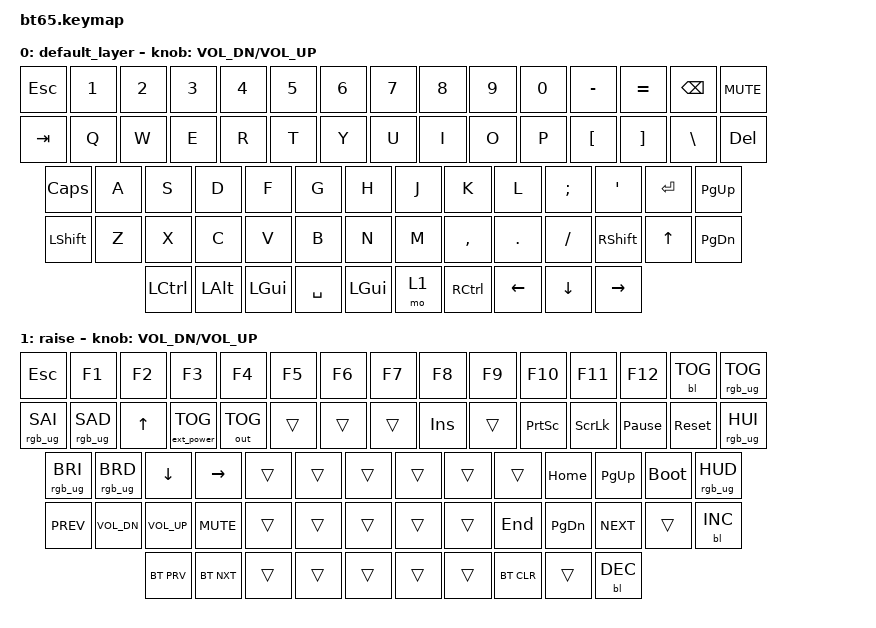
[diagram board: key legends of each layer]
#include <behaviors.dtsi>
#include <dt-bindings/zmk/backlight.h>
#include <dt-bindings/zmk/bt.h>
#include <dt-bindings/zmk/ext_power.h>
#include <dt-bindings/zmk/keys.h>
#include <dt-bindings/zmk/rgb.h>
#include <dt-bindings/zmk/outputs.h>

/ {
    keymap {
        compatible = "zmk,keymap";

        default_layer {
            // ------------------------------------------------------------------------------------------------------------
            // |  `  |  1  |  2  |  3  |  4  |  5  |  6  |  7  |  8  |  9  |  0  |  -  |  =  |BKSP | INS		|
            // | TAB  |  Q  |  W  |  E  |  R  |  T  |  Y  |  U  |  I  |  O  |  P  |  [  |  ]  |   \    | DEL		|
            // | CAPS  |  A  |  S  |  D  |  F  |  G  |  H  |  J  |  K  |  L  |  ;  |  '  |     ENTER    |PGUP	|
            // |  SHIFT  |  Z  |  X  |  C  |  V  |  B  |  N  |  M  |  ,  |  .  | /   |   SHIFT  | UP   | PGDN|
            // |  CTL  |  WIN  |  ALT  |            SPACE               | ALT | 1    |  MENU| LEFT |  DOWN    | RIGHT	|
            // ------------------------------------------------------------------------------------------------------------

            bindings = <
  &kp ESC    &kp N1  &kp N2    &kp N3  &kp N4  &kp N5     &kp N6  &kp N7  &kp N8     &kp N9    &kp N0  &kp MINUS  &kp EQUAL            &kp BKSP               &kp C_MUTE
  &kp TAB     &kp Q   &kp W     &kp E   &kp R   &kp T      &kp Y   &kp U   &kp I      &kp O     &kp P   &kp LBKT   &kp RBKT            &kp BSLH      &kp DEL
 &kp CLCK     &kp A   &kp S     &kp D   &kp F   &kp G      &kp H   &kp J   &kp K      &kp L  &kp SEMI    &kp SQT                        &kp RET    &kp PG_UP
&kp LSHFT             &kp Z     &kp X   &kp C   &kp V      &kp B   &kp N   &kp M  &kp COMMA   &kp DOT   &kp FSLH  &kp RSHFT              &kp UP    &kp PG_DN
&kp LCTRL  &kp LALT          &kp LGUI                  &kp SPACE                             &kp LGUI      &mo 1  &kp RCTRL  &kp LEFT  &kp DOWN    &kp RIGHT
            >;

            sensor-bindings = <&inc_dec_kp C_VOL_DN C_VOL_UP>;
        };

        raise {
            bindings = <
        &kp ESC           &kp F1        &kp F2             &kp F3      &kp F4  &kp F5  &kp F6  &kp F7   &kp F8  &kp F9    &kp F10    &kp F11          &kp F12               &bl BL_TOG                     &rgb_ug RGB_TOG
&rgb_ug RGB_SAI  &rgb_ug RGB_SAD        &kp UP  &ext_power EP_TOG      &out OUT_TOG  &trans  &trans  &trans  &kp INS  &trans  &kp PSCRN   &kp SLCK  &kp PAUSE_BREAK               &sys_reset    &rgb_ug RGB_HUI
&rgb_ug RGB_BRI  &rgb_ug RGB_BRD      &kp DOWN          &kp RIGHT      &trans  &trans  &trans  &trans   &trans  &trans   &kp HOME  &kp PG_UP                               &bootloader    &rgb_ug RGB_HUD
     &kp C_PREV                   &kp C_VOL_DN       &kp C_VOL_UP  &kp C_MUTE  &trans  &trans  &trans   &trans  &trans    &kp END  &kp PG_DN       &kp C_NEXT                   &trans         &bl BL_INC
     &bt BT_PRV       &bt BT_NXT                           &trans                      &trans                              &trans     &trans           &trans  &bt BT_CLR       &trans         &bl BL_DEC
            >;

            sensor-bindings = <&inc_dec_kp C_VOL_DN C_VOL_UP>;
        };
    };
};
